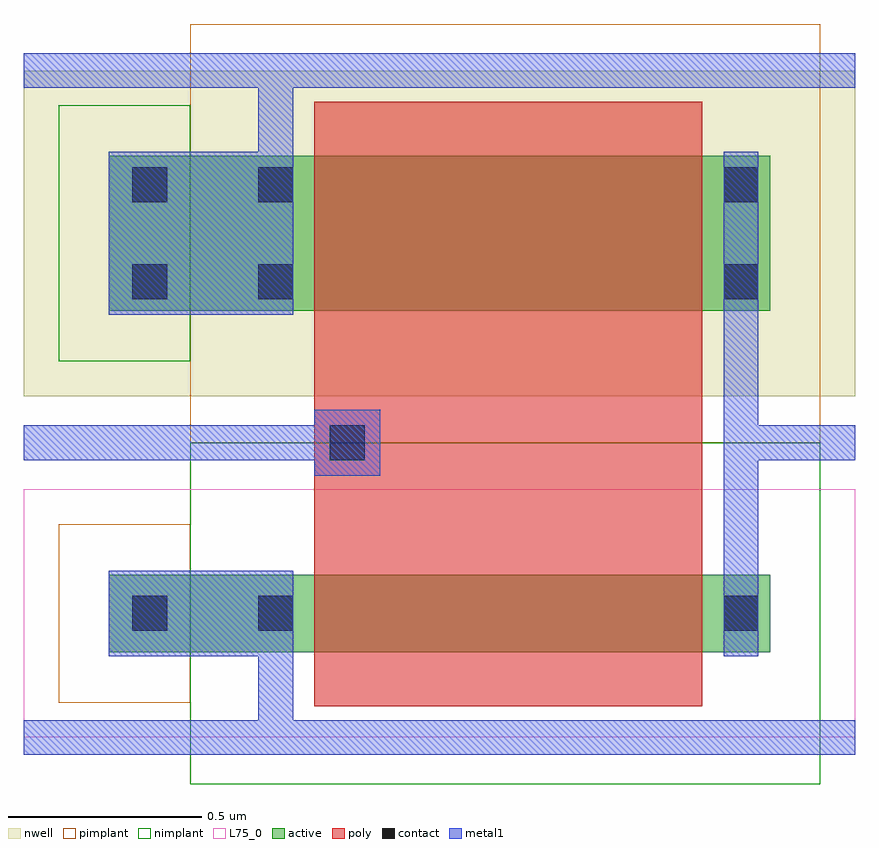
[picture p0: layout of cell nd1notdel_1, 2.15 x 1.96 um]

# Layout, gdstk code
import gdstk
lib = gdstk.Library(unit=1e-6, precision=1e-09)
def R(c, l, rs):  # rectangles x0, y0, x1, y1
    for r in rs: c.add(gdstk.rectangle(r[:2], r[2:], *l))
nwell = (3, 0)
active = (6, 0)
poly = (17, 0)
pimplant = (25, 0)
nimplant = (26, 0)
contact = (30, 0)
metal1 = (31, 0)
L75_0 = (75, 0)

nd1nch_0 = lib.new_cell('nd1nch_0')
R(nd1nch_0, active, [(-0.53,0,-0.32,0.2), (-0.32,0,0,0.2), (0,0,1,0.2), (1,0,1.175,0.2)])
R(nd1nch_0, poly, [(0,-0.14,1,0), (0,0,1,0.2), (0,0.2,1,0.34)])
R(nd1nch_0, pimplant, [(-0.66,-0.13,-0.32,0.33)])
R(nd1nch_0, nimplant, [(-0.32,-0.34,1.305,0.54)])
R(nd1nch_0, contact, [(-0.47,0.055,-0.38,0.145), (-0.145,0.055,-0.055,0.145), (1.055,0.055,1.145,0.145)])
R(nd1nch_0, metal1, [(-0.32,-0.01,-0.145,0.21), (-0.145,-0.01,-0.055,0.21), (1.055,-0.01,1.145,0.21)])
R(nd1nch_0, L75_0, [(-0.75,-0.22,1.395,0.42)])
nd1nch_0.add(gdstk.FlexPath([(-0.425,-0.01),(-0.425,0.21)], 0.21, ends="flush", simple_path=True, layer=31, datatype=0))  # metal1
nd1nch_0.add(gdstk.Label('& SerialNumber 000000', (0,0), layer=63, texttype=63))
nd1nch_0.add(gdstk.Label('& Distributor TSMC', (0,0), layer=63, texttype=63))
nd1nch_0.add(gdstk.Label('& Metric 1', (0,0), layer=63, texttype=63))
nd1nch_0.add(gdstk.Label('& PDK TechNode "CRN65LP"', (0,0), layer=63, texttype=63))
nd1nch_0.add(gdstk.Label('& Product    tsmcN65_PDK', (0,0), layer=63, texttype=63))
nd1nch_0.add(gdstk.Label('& Vendor     Taiwan Semiconductor manufacturing Corp.', (0,0), layer=63, texttype=63))
nd1nch_0.add(gdstk.Label('[@instanceName]', (0.5,0.1), layer=127, texttype=0))
nd1nch_0.add(gdstk.Label('nch\n0.2/1.0\n', (0,0), layer=127, texttype=0))
nd1nch_0.add(gdstk.Label('B', (-0.425,0.1), layer=127, texttype=0))
nd1nch_0.add(gdstk.Label('D', (1.1,0.1), layer=127, texttype=0))
nd1nch_0.add(gdstk.Label('S', (-0.1,0.1), layer=127, texttype=0))

nd1pch_1 = lib.new_cell('nd1pch_1')
R(nd1pch_1, nwell, [(-0.75,-0.22,1.395,0.62)])
R(nd1pch_1, active, [(-0.53,0,-0.32,0.4), (-0.32,0,0,0.4), (0,0,1,0.4), (1,0,1.175,0.4)])
R(nd1pch_1, poly, [(0,-0.14,1,0), (0,0,1,0.4), (0,0.4,1,0.54)])
R(nd1pch_1, pimplant, [(-0.32,-0.34,1.305,0.74)])
R(nd1pch_1, nimplant, [(-0.66,-0.13,-0.32,0.53)])
R(nd1pch_1, contact, [(-0.47,0.03,-0.38,0.12), (-0.145,0.03,-0.055,0.12), (1.055,0.03,1.145,0.12), (-0.47,0.28,-0.38,0.37), (-0.145,0.28,-0.055,0.37), (1.055,0.28,1.145,0.37)])
R(nd1pch_1, metal1, [(-0.32,-0.01,-0.145,0.41), (-0.145,-0.01,-0.055,0.41), (1.055,-0.01,1.145,0.41)])
nd1pch_1.add(gdstk.FlexPath([(-0.425,-0.01),(-0.425,0.41)], 0.21, ends="flush", simple_path=True, layer=31, datatype=0))  # metal1
nd1pch_1.add(gdstk.Label('& SerialNumber 000000', (0,0), layer=63, texttype=63))
nd1pch_1.add(gdstk.Label('& Distributor TSMC', (0,0), layer=63, texttype=63))
nd1pch_1.add(gdstk.Label('& Metric 1', (0,0), layer=63, texttype=63))
nd1pch_1.add(gdstk.Label('& PDK TechNode "CRN65LP"', (0,0), layer=63, texttype=63))
nd1pch_1.add(gdstk.Label('& Product    tsmcN65_PDK', (0,0), layer=63, texttype=63))
nd1pch_1.add(gdstk.Label('& Vendor     Taiwan Semiconductor manufacturing Corp.', (0,0), layer=63, texttype=63))
nd1pch_1.add(gdstk.Label('[@instanceName]', (0.5,0.2), layer=127, texttype=0))
nd1pch_1.add(gdstk.Label('pch\n0.4/1.0\n', (0,0), layer=127, texttype=0))
nd1pch_1.add(gdstk.Label('B', (-0.425,0.2), layer=127, texttype=0))
nd1pch_1.add(gdstk.Label('D', (1.1,0.2), layer=127, texttype=0))
nd1pch_1.add(gdstk.Label('S', (-0.1,0.2), layer=127, texttype=0))

nd1m1_po_0 = lib.new_cell('nd1M1_PO_0')
R(nd1m1_po_0, poly, [(-0.085,-0.085,0.085,0.085)])
R(nd1m1_po_0, contact, [(-0.045,-0.045,0.045,0.045)])
R(nd1m1_po_0, metal1, [(-0.085,-0.085,0.085,0.085)])

nd1notdel_1 = lib.new_cell('nd1notdel_1')
R(nd1notdel_1, poly, [(0.75,0.68,1.75,1.08)])
nd1notdel_1.add(gdstk.FlexPath([(1.85,0.88),(2.145,0.88)], 0.09, ends="flush", simple_path=True, layer=31, datatype=0))  # metal1
nd1notdel_1.add(gdstk.FlexPath([(0.75,0.88),(0,0.88)], 0.09, ends="flush", simple_path=True, layer=31, datatype=0))  # metal1
nd1notdel_1.add(gdstk.FlexPath([(1.85,1.21),(1.85,0.55)], 0.09, ends="flush", simple_path=True, layer=31, datatype=0))  # metal1
nd1notdel_1.add(gdstk.FlexPath([(0.65,0.33),(0.65,0.12),(0,0.12)], 0.09, ends="flush", simple_path=True, layer=31, datatype=0))  # metal1
nd1notdel_1.add(gdstk.FlexPath([(0.65,1.63),(0.65,1.84),(0,1.84)], 0.09, ends="flush", simple_path=True, layer=31, datatype=0))  # metal1
nd1notdel_1.add(gdstk.FlexPath([(0.65,0.12),(2.145,0.12)], 0.09, ends="flush", simple_path=True, layer=31, datatype=0))  # metal1
nd1notdel_1.add(gdstk.FlexPath([(0.65,1.84),(2.145,1.84)], 0.09, ends="flush", simple_path=True, layer=31, datatype=0))  # metal1
nd1notdel_1.add(gdstk.Reference(nd1nch_0, (0.75,0.34)))
nd1notdel_1.add(gdstk.Reference(nd1pch_1, (0.75,1.22)))
nd1notdel_1.add(gdstk.Reference(nd1m1_po_0, (0.835,0.88)))

lib.write_gds('nd1notdel_1.gds')
